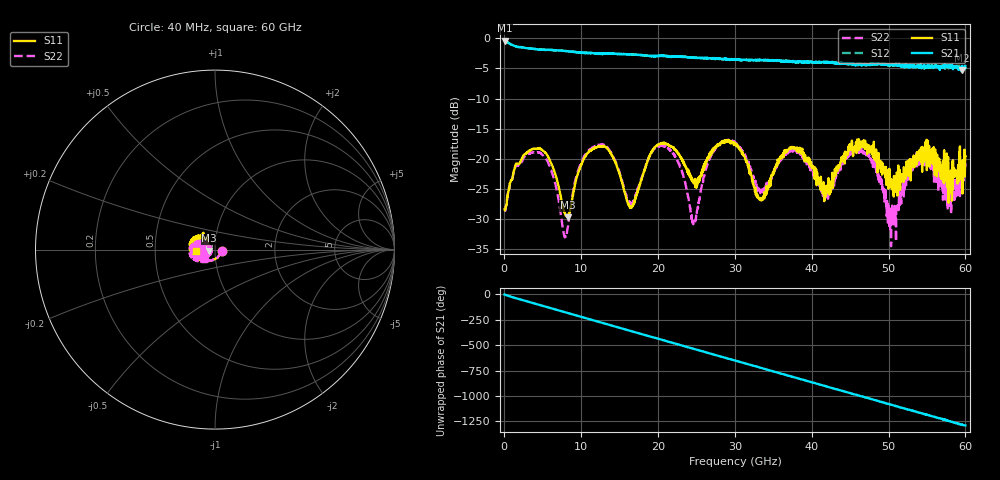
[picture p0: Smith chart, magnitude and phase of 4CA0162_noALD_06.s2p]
! File created by 'SoftPlot +Plus+ Measurement Management Software'
! SoftPlot +Plus+ Measurement Management Software
! Start 40.000000 MHz  Stop 60.000000 GHz  Points 1601
# MHZ S RI R 50
! S-Parameter data, F S11 S21 S12 S22
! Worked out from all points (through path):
!   1601 points, 40 MHz to 60 GHz, reference 50 ohm
!   highest |S21| = -0.39 dB at 40 MHz (marker M1); lowest = -5.3 dB at 59.55 GHz (marker M2)
!   group delay of S21, straight-line fit = 59.6 ps
!   lowest |S11| = -29.7 dB at 8.247 GHz (marker M3), VSWR 1.07, Z = 46.9 - j0.506 ohm
!   |S11| at or under -10 dB: start of sweep to end of sweep
!   |S22| runs from -34.5 to -16.8 dB; largest |S21 - S12| = 0.056
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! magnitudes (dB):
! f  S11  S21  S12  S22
! 40 MHz  -28.4  -0.4  -0.4  -28.3
! 1.502 GHz  -20.9  -1.4  -1.3  -21.2
! 4.537 GHz  -18.2  -1.9  -1.9  -18.9
! 8.247 GHz  -29.7  -2.1  -2.2  -31.5
! 10.05 GHz  -20.9  -2.4  -2.4  -20.5
! 13.23 GHz  -18.1  -2.5  -2.5  -17.9
! 16.53 GHz  -28.1  -2.7  -2.7  -27.5
! 20.05 GHz  -17.6  -3.0  -2.9  -17.8
! 22.56 GHz  -18.9  -3.0  -3.0  -20.4
! 24.66 GHz  -23.8  -3.2  -3.3  -30.8
! 27.02 GHz  -19.1  -3.4  -3.4  -19.2
! 30.02 GHz  -17.4  -3.5  -3.5  -17.3
! 33.36 GHz  -26.6  -3.6  -3.6  -25.3
! 37.22 GHz  -18.3  -3.9  -3.9  -18.8
! 40.03 GHz  -21.5  -3.9  -4.0  -21.8
! 41.86 GHz  -26.1  -3.9  -4.0  -25.9
! 46.73 GHz  -17.2  -4.4  -4.4  -18.9
! 50.03 GHz  -23.7  -4.5  -4.5  -28.4
! 53.63 GHz  -19.9  -4.7  -5.0  -19.1
! 57.86 GHz  -22.4  -4.5  -4.9  -25.2
! 59.55 GHz  -21.0  -5.3  -5.0  -23.1
! 60 GHz  -19.6  -4.9  -5.2  -21.9
